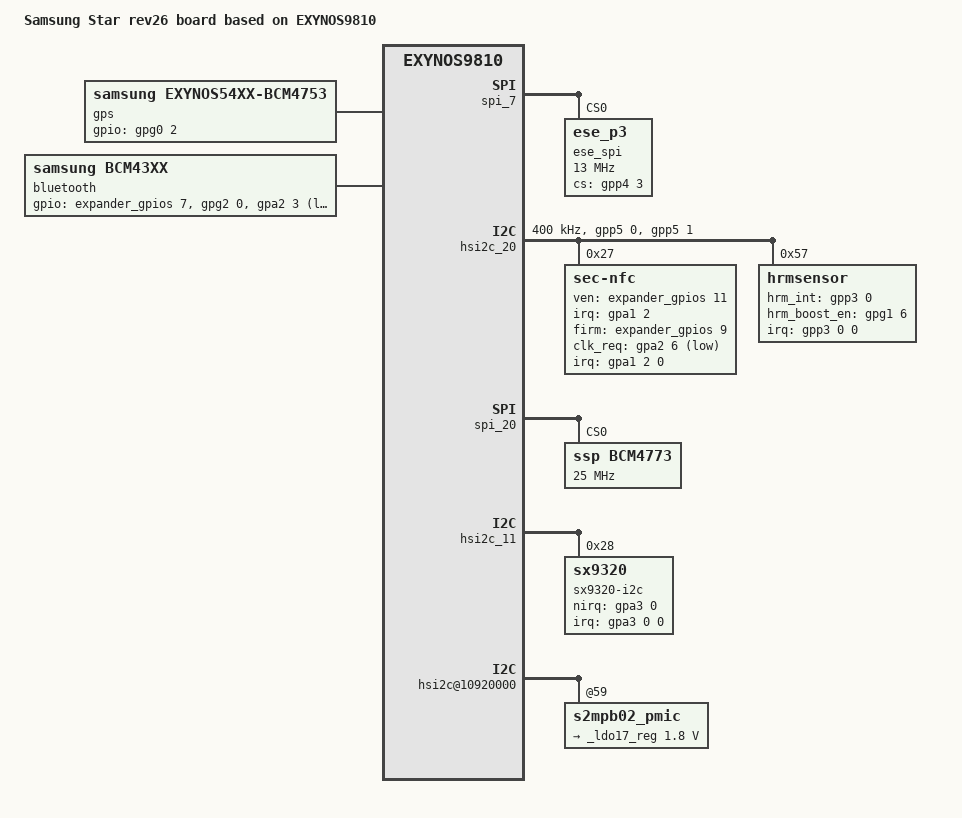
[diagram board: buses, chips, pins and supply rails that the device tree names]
/*
 * SAMSUNG EXYNOS9810 board device tree source
 *
 * Copyright (c) 2017 Samsung Electronics Co., Ltd.
 *		http://www.samsung.com
 *
 * This program is free software; you can redistribute it and/or modify
 * it under the terms of the GNU General Public License version 2 as
 * published by the Free Software Foundation.
 */

/dts-v1/;
#include "exynos9810-starlte_common.dtsi"
#include "battery_data_starlte_eur_18.dtsi"
#include "exynos9810-starlte_fingerprint_16.dtsi"
#include "exynos9810-starlte_mst_01.dtsi"
#include "exynos9810-starlte_if-pmic-max77705.dtsi"
#include "exynos9810-starlte_eur_open_gpio_18.dtsi"

/ {
	model = "Samsung Star rev26 board based on EXYNOS9810";
	model_info-chip = <9810>;
	model_info-platform = "android";
	model_info-subtype = "samsung";
	model_info-hw_rev = <26>;
	model_info-hw_rev_end = <255>;
	compatible = "Samsung, Star rev26", "Samsung,EXYNOS9810";

	pinctrl@10830000 {
		spi7_bus_suspend: spi7-bus-suspend {
			samsung,pins = "gpp4-2", "gpp4-1", "gpp4-0";
			samsung,pin-function = <0>;	/* INPUT */
			samsung,pin-pud = <1>;		/* DOWN */
			samsung,pin-drv = <0>;
		};
		spi7_cs_suspend: spi7-cs-suspend {
			samsung,pins = "gpp4-3";
			samsung,pin-function = <0>;	/* INPUT */
			samsung,pin-pud = <1>;		/* DOWN */
			samsung,pin-drv = <0>;
		};
	};
	/* SPI USI_PERIC1_USI06_SPI */
	spi_7: spi@108A0000 {
		status = "okay";
		/delete-property/ pinctrl-names;
		/delete-property/ pinctrl-0;

		ese_spi@0 {
			compatible = "ese_p3";
			reg = <0>;
			spi-max-frequency = <13000000>;
			gpio-controller;
			#gpio-cells = <2>;

			p3-vdd-1p8= "VDD_ESE_1P8";

			clocks = <&clock GATE_USI06>, <&clock USI06>;
			clock-names = "pclk", "sclk";
			ese_p3,cs-gpio = <&gpp4 3 0>;

			pinctrl-names = "ese_active", "ese_suspend";
			pinctrl-0 = <&spi7_bus &spi7_cs>;
			pinctrl-1 = <&spi7_bus_suspend &spi7_cs_suspend>;

			controller-data {
				samsung,spi-feedback-delay = <0>;
				samsung,spi-chip-select-mode = <0>;
			};
		};
	};

	/* USI08_USI */
	hsi2c_20: hsi2c@108E0000 {
		gpios = <&gpp5 0 0 &gpp5 1 0>;
		status = "okay";
		clock-frequency = <400000>;
		sec-nfc@27 {
			compatible = "sec-nfc";
			reg = <0x27>;

			interrupts = <2 0 0>;
			interrupt-parent = <&gpa1>;

			sec-nfc,ven-gpio = <&expander_gpios 11 0>;
			sec-nfc,irq-gpio = <&gpa1 2 0>;
			sec-nfc,firm-gpio = <&expander_gpios 9 0>;
			sec-nfc,clk_req-gpio = <&gpa2 6 0xf>;
			sec-nfc,clk_use = <2>;
			sec-nfc,nfc_pvdd = "VDD_NFC_1P8";

			clocks = <&clock OSC_NFC>;
			clock-names = "oscclk_nfc";
			sec-nfc,nfc_ap_clk;
			sec-nfc,ldo_control;
		};

		hrmsensor@57 {
			compatible = "hrmsensor";
			reg = <0x57>;
			interrupt-parent = <&gpp3>;
			interrupts = <0 0 0>;
			pinctrl-names = "default", "sleep", "idle";
			pinctrl-0 = <&hrm_irq &hrm_en>;
			pinctrl-1 = <&hrm_irqsleep &hrm_ensleep>;
			pinctrl-2 = <&hrm_irqidle &hrm_enidle>;
			hrmsensor,hrm_int-gpio = <&gpp3 0 0>;
			hrmsensor,hrm_boost_en-gpio = <&gpg1 6 0>;
			hrmsensor,vdd_1p8 = "HRM_1.8V_AP";
			hrmsensor,i2c_1p8 = "VDD_NFC_1P8";
		};
	};

	pinctrl@10430000 {
		hrm_en: hrm-en {
			samsung,pins = "gpg1-6";
			samsung,pin-function = <0>;
			samsung,pin-pud = <1>;
			samsung,pin-drv = <2>;
		};

		hrm_ensleep: hrm-ensleep {
			samsung,pins = "gpg1-6";
			samsung,pin-con-pdn = <2>;
			samsung,pin-pud-pdn = <1>;
		};

		hrm_enidle: hrm-enidle {
			samsung,pins = "gpg1-6";
			samsung,pin-function = <0>;
			samsung,pin-pud = <1>;
			samsung,pin-drv = <2>;
		};

		cfg_wlanen: cfg_wlanen {
			samsung,pins = "gpg0-5";
			samsung,pin-function = <1>;
			samsung,pin-pud = <0>; /* NONE */
			samsung,pin-drv = <3>;
			samsung,pin-con-pdn = <3>;
		};
	};

	spi_20: spi@13AC0000{
		#address-cells = <1>;
		#size-cells = <0>;

		pinctrl-names = "default";
		pinctrl-0 = <&sensorhub_mosi_sck_ssn &sensorhub_miso>;

		num-cs = <1>;
		status = "okay";
	/*
	 *	dma-mode;
	 *	dmas = <&pdma0 21 0
	 *		&pdma0 20 0>;
	 */
		BCM4773@0 {
			compatible = "ssp,BCM4773";
			reg = <0>;
			/* spi-max-frequency = <26000000>; */
			spi-max-frequency = <25000000>;
			spi-cpol;
			spi-cpha;
			pinctrl-names = "default";
			pinctrl-0 = <&ssp_host_req &ssp_mcu_req &ssp_mcu_resp &ssp_batch_wake_irq &ssp_shub_int>;

			gpio-controller;
			#gpio-cells = <2>;
			ssp-host-req = <&gpa1 7 0x00>;
			ssp-mcu-req = <&gph0 5 0x00>;
			ssp-mcu-resp = <&gph0 4 0x00>;
			ssp-batch-wake-irq = <&gpa0 5 0x00>;
			ssp-shub-int = <&gpa4 0 0x00>;
			ssp-acc-position = <4>;
			ssp-mag-position = <5>;
			ssp-sns-combination = <0>;
			ssp-ap-rev = <1>;
			ssp-mag-array = /bits/ 8 <216 82 110 20 16 123 255 209 211 54 70 37 180 8 0 147 255 113 132 121
						190 252 250 15 9 40 180>;
			ssp-thermi-up = /bits/ 16 <3023 2990 2952 2903 2843 2772 2684 2582 2464 2335 2190 2037 1882 1742
						1558 1397 1246 1103 974 851 746 651 601>;
			ssp-thermi-sub = /bits/ 16 <3021 2990 2951 2903 2843 2771 2685 2584 2467 2339 2195 2044 1891
						1747 1567 1409 1258 1115 986 864 759 662 612>;
			ssp-glass-type = <0>;
			ssp-mag-type = <1>;
			ssp-vdd-mcu-1p8 = "vdd_mcu_1p8";

			controller-data {
				cs-gpio = <&gph0 3 0>;
				samsung,spi-feedback-delay = <0>;
			};
		};
	};

	pinctrl@10430000 {
		ssp_gps_pwr_en: ssp-gps-pwr-en {
			samsung,pins = "gpg0-2";
			samsung,pin-function = <1>;
			samsung,pin-pud = <1>;
			samsung,pin-drv = <3>;
			samsung,pin-con-pdn = <3>;
			samsung,pin-pud-pdn = <0>;
		};
	};

	gps {
		compatible = "samsung,exynos54xx-bcm4753";

		pinctrl-names = "hub_en";
		pinctrl-0 = <&ssp_gps_pwr_en>;

		gpios = <&gpg0 2 0x0>;
		status = "okay";
	};

	pinctrl@14050000 {
		grip_irq: grip-irq {
			samsung,pins = "gpa3-0";
			samsung,pin-function = <0xf>;
			samsung,pin-pud = <0>;
			samsung,pin-drv = <3>;
		};
	};

	hsi2c_11: hsi2c@104C0000 {
		status = "okay";
		sx9320-i2c@22 {
			compatible = "sx9320";
			reg = <0x28>;
			status = "okay";
			pinctrl-names = "default";
			pinctrl-0 = <&grip_irq>;
			interrupt-parent = <&gpa3>;
			interrupts = <0 0 0>;

			/* only phase 3 enable */
			sx9320,phen = <0x03>;
			sx9320,nirq-gpio = <&gpa3 0 0x00>;
			sx9320,gain = <0x01>;
			sx9320,again = <0x08>;
			sx9320,scan_period = <0x16>;
			sx9320,range = <0x00>;
			sx9320,sampling_freq = <0x00>;
			sx9320,resolution = <0x07>;
			sx9320,rawfilt = <0x01>;
			sx9320,hyst = <0x01>;
			sx9320,avgposfilt = <0x04>;
			sx9320,avgnegfilt = <0x01>;
			sx9320,avgthresh = <0x20>;
			sx9320,debouncer = <0x01>;
			sx9320,normal_thd = <0x20>;
			sx9320,afeph0 = <0x0>;
			sx9320,afeph1 = <0x0>;
			sx9320,afeph2 = <0x0>;
			sx9320,afeph3 = <0x4>;
		};
	};

	speedy@141C0000 {
		status = "okay";
		s2mps18mfd@00 {
			regulators {
				ldo37_reg: LDO37 {
					regulator-name = "vdd_mcu_1p8";
					regulator-min-microvolt = <1800000>;
					regulator-max-microvolt = <1800000>;
				};
			};
		};
	};

	pinctrl@14050000 {
		bt_hostwake: bt-hostwake {
			samsung,pins = "gpa2-3";
			samsung,pin-function = <0>;
			samsung,pin-pud = <0>;
		};
	};

	pinctrl@10430000 {
		bt_btwake: bt-btwake {
			samsung,pins = "gpg2-0";
			samsung,pin-function = <1>;
			samsung,pin-pud = <0>;
			samsung,pin-con-pdn = <3>;
			samsung,pin-pud-pdn = <0>;
		};
	};

	bluetooth {
		compatible = "samsung,bcm43xx";

		gpios = <&expander_gpios 7 0    /*BT_EN*/
			&gpg2 0 0    /*BT_WAKE*/
			&gpa2 3 0xF    /*BT_HOST_WAKE*/ >;
		pinctrl-names = "default";
		pinctrl-0=<&bt_hostwake &bt_btwake>;
		status = "okay";
	};

	hsi2c@10920000 {
		s2mpb02_pmic@59 {
			regulators {
				_ldo17_reg: s2mpb02-ldo17 {
					regulator-name = "VDD_GRIP_1P8";
					regulator-min-microvolt = <1800000>;
					regulator-max-microvolt = <1800000>;
					regulator-always-on;
					regulator-boot-on;
				};
			};
		};
	};

	dwmmc2@11500000 {
		ssc-rate = <3>;
	};

	pinctrl@11430000 {
		sd2_cmd: sd2-cmd {
			samsung,pins = "gpf1-1";
			samsung,pin-function = <2>;
			samsung,pin-pud = <0>;
			samsung,pin-drv = <3>;
		};

		sd2_bus1: sd2-bus-width1 {
			samsung,pins = "gpf1-2";
			samsung,pin-function = <2>;
			samsung,pin-pud = <0>;
			samsung,pin-drv = <3>;
		};

		sd2_bus4: sd2-bus-width4 {
			samsung,pins = "gpf1-3", "gpf1-4", "gpf1-5";
			samsung,pin-function = <2>;
			samsung,pin-pud = <0>;
			samsung,pin-drv = <3>;
		};
	};
};
